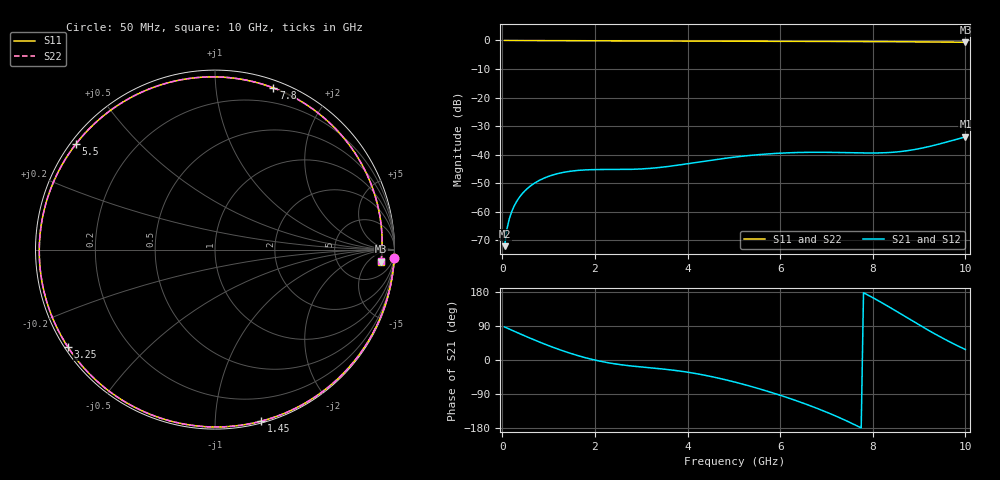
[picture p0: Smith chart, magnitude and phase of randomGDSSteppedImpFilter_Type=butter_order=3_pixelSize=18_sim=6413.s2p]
! freq	dB(S11)	phase(S11)	dB(S12)	phase(S12)
!  dB(S21)	phase(S21)	dB(S22)	phase(S22)
!S-par simulation data
#  GHz  S  DB  R 50
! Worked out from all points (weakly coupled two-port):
!   200 points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, 50 MHz to 10 GHz, reference 50 ohm
!   highest |S21| = -33.75 dB at 10 GHz (marker M1); lowest = -72.0 dB at 50 MHz (marker M2)
!   lowest |S11| = -0.7 dB at 10 GHz (marker M3), VSWR 26.69, Z = 694 - j666 ohm
!   |S11| at or under -10 dB: nowhere
!   |S22| runs from -0.7 to 0.0 dB; largest |S21 - S12| = 0
!   S11 on the Smith chart (normalised r, x): 50 MHz: 0, -41; 1.45 GHz: 0.01, -1.30; 3.25 GHz: 0.01, -0.30; 5.5 GHz: 0.02, +0.34; 7.8 GHz: 0.07, +1.42; 10 GHz: 14, -13
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0.05  -0.00 -2.8  -72.04 87.2  -72.04 87.2  -0.00 -2.8
0.1  -0.01 -5.5  -66.04 84.4  -66.04 84.4  -0.01 -5.5
0.2  -0.02 -11.0  -60.08 78.9  -60.08 78.9  -0.02 -11.0
0.3  -0.03 -16.4  -56.65 73.5  -56.65 73.5  -0.03 -16.4
0.45  -0.04 -24.5  -53.31 65.5  -53.31 65.5  -0.04 -24.5
0.85  -0.06 -45.6  -48.59 45.1  -48.59 45.1  -0.06 -45.6
1.15  -0.07 -60.7  -46.82 31.0  -46.82 31.0  -0.07 -60.7
1.45  -0.09 -75.0  -45.85 18.4  -45.85 18.4  -0.09 -75.1
1.75  -0.10 -88.6  -45.37 7.5  -45.37 7.5  -0.10 -88.7
2.4  -0.12 -115.6  -45.19 -9.6  -45.19 -9.6  -0.12 -115.6
3.25  -0.15 -146.6  -44.71 -21.2  -44.71 -21.2  -0.15 -146.6
3.4  -0.15 -151.7  -44.47 -23.0  -44.47 -23.0  -0.15 -151.7
4.2  -0.18 -177.5  -42.68 -36.3  -42.68 -36.3  -0.18 -177.5
5.05  -0.22 156.4  -40.78 -59.1  -40.78 -59.1  -0.22 156.4
5.5  -0.24 142.7  -40.04 -74.2  -40.04 -74.2  -0.24 142.8
6.15  -0.27 122.9  -39.36 -99.1  -39.36 -99.1  -0.27 122.9
6.7  -0.30 105.7  -39.15 -123.1  -39.15 -123.1  -0.30 105.7
7.25  -0.34 88.1  -39.23 -150.5  -39.23 -150.5  -0.34 88.1
7.8  -0.37 70.1  -39.40 177.5  -39.40 177.5  -0.37 70.1
8.35  -0.42 51.7  -39.25 140.2  -39.25 140.2  -0.42 51.8
9.2  -0.51 22.9  -37.21 78.5  -37.21 78.5  -0.51 23.0
10  -0.65 -4.1  -33.75 27.6  -33.75 27.6  -0.65 -4.1
